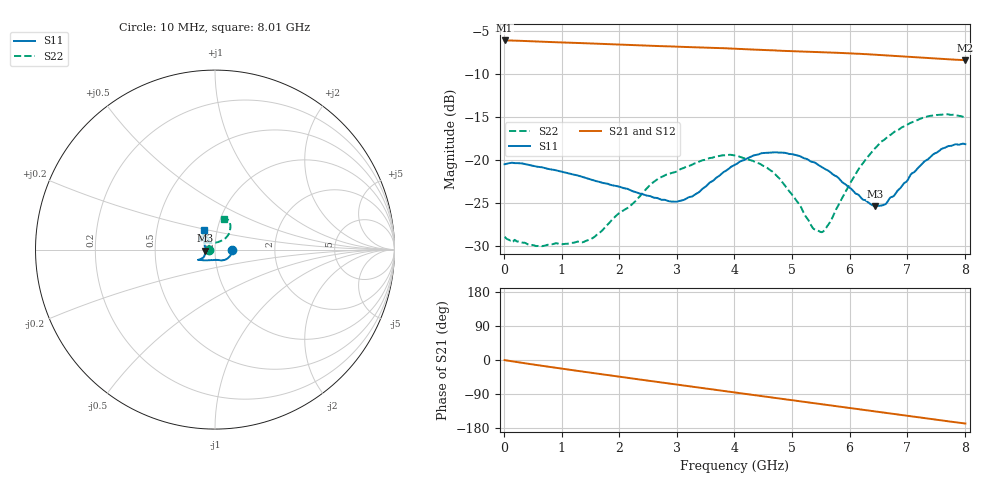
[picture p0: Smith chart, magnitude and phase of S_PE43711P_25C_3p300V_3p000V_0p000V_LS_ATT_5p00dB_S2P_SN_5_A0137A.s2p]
! Device ID: PE43711P
! File Path: z:\PE43711P\CHAR_NOM_04282014\AMB\3p300\LS_ATT_5p00dB\PE43711P_AMB_3p300V_3p000V_0p000V_LS_ATT_5p00dB_S2P_SN_5_A0137A.s2p
! Serial: 5
! Lot: A0137A
! Temp: 25C
! VDD: 3.300
! VSS: 0.000
! Control_Hi: 3.000
! Control_Lo: 0.000
! Attenuation Step: 5.00dB
! Port 1: RF1
! Port 2: RF2
! ThroughPath:1-2
! IDD: 0.0001279546
! ISS: -6.48e-008
#  Hz  S  RI  R  50
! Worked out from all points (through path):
!   801 points, 10 MHz to 8.01 GHz, reference 50 ohm
!   highest |S21| = -6.08 dB at 10 MHz (marker M1); lowest = -8.4 dB at 8.01 GHz (marker M2)
!   group delay of S21, straight-line fit = 57.8 ps
!   lowest |S11| = -25.4 dB at 6.44 GHz (marker M3), VSWR 1.11, Z = 44.9 - j0.456 ohm
!   |S11| at or under -10 dB: start of sweep to end of sweep
!   |S22| runs from -30.0 to -14.7 dB; largest |S21 - S12| = 0.00083
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1e7  0.0944 -0.000385  0.4965 -0.00247  0.4967 -0.00269  -0.0356 0.000326
5.7e8  0.0852 -0.0332  0.4766 -0.1127  0.4768 -0.1128  -0.0314 -0.00311
1.35e9  0.0564 -0.0565  0.414 -0.2412  0.4144 -0.2414  -0.0324 0.00697
1.67e9  0.0449 -0.0591  0.3788 -0.286  0.3792 -0.2862  -0.0322 0.0199
2.68e9  0.0143 -0.0579  0.2433 -0.3909  0.2436 -0.3912  -0.0405 0.0666
2.98e9  -0.00123 -0.0571  0.1982 -0.412  0.1984 -0.4123  -0.0479 0.0704
3.27e9  -0.0193 -0.0582  0.1525 -0.427  0.1527 -0.4274  -0.0567 0.075
3.68e9  -0.0506 -0.06  0.087 -0.4402  0.087 -0.4405  -0.0738 0.0738
4.01e9  -0.0732 -0.0582  0.0332 -0.4433  0.033 -0.4436  -0.0843 0.0643
4.34e9  -0.0896 -0.0573  -0.0193 -0.4389  -0.0194 -0.4393  -0.0815 0.0546
4.69e9  -0.0946 -0.0576  -0.0729 -0.4281  -0.0731 -0.4282  -0.0701 0.0456
5.11e9  -0.0895 -0.0565  -0.1339 -0.4073  -0.134 -0.4074  -0.0405 0.0389
5.35e9  -0.0821 -0.0525  -0.1672 -0.3917  -0.1674 -0.3922  -0.018 0.0364
5.5e9  -0.0765 -0.0506  -0.1875 -0.3805  -0.1876 -0.3808  -0.00283 0.0379
5.58e9  -0.0735 -0.0487  -0.198 -0.3743  -0.198 -0.3742  0.00575 0.0392
6.14e9  -0.0569 -0.0273  -0.2653 -0.3202  -0.2655 -0.3201  0.0586 0.0639
6.44e9  -0.0533 -0.00506  -0.2948 -0.2851  -0.295 -0.2853  0.077 0.0876
6.68e9  -0.0562 0.0174  -0.3149 -0.2559  -0.3148 -0.2561  0.0835 0.1101
7.05e9  -0.062 0.0524  -0.3396 -0.2078  -0.3394 -0.208  0.0846 0.1403
7.45e9  -0.0661 0.085  -0.3579 -0.155  -0.3581 -0.1551  0.0727 0.1665
7.7e9  -0.0667 0.0996  -0.3658 -0.1222  -0.3657 -0.1219  0.0608 0.1741
8.01e9  -0.0597 0.1081  -0.3722 -0.0816  -0.3724 -0.0808  0.0493 0.1696
